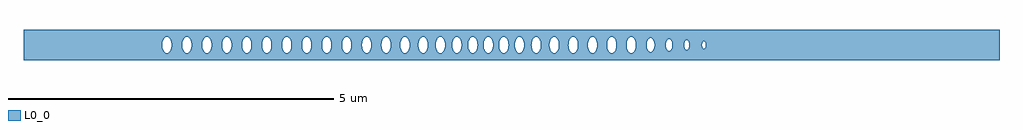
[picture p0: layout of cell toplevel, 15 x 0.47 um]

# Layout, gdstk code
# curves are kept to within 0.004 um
import gdstk
lib = gdstk.Library(unit=1e-6, precision=1e-09)
def P(c, l, *ps):  # polygons
    for p in ps: c.add(gdstk.Polygon(p, *l))
L0_0 = (0, 0)

toplevel = lib.new_cell('toplevel')
P(toplevel, L0_0, [(-4.754,0.016),(-4.741,0.075),(-4.713,0.115),(-4.713,0.234),(-7.5,0.234),(-7.5,-0.008),(-5.369,-0.008),(-5.364,0.047),(-5.346,0.093),(-5.323,0.119),(-5.296,0.128),(-5.261,0.112),(-5.24,0.081),(-5.227,0.039),(-5.224,0),(-5.062,0),(-5.057,0.047),(-5.039,0.093),(-5.016,0.119),(-4.989,0.128),(-4.963,0.119),(-4.943,0.098),(-4.928,0.068),(-4.917,0.016),(-4.92,-0.039),(-4.933,-0.081),(-4.954,-0.112),(-4.989,-0.128),(-5.016,-0.119),(-5.039,-0.093),(-5.057,-0.047),(-5.062,0),(-5.224,0),(-5.227,-0.039),(-5.24,-0.081),(-5.261,-0.112),(-5.296,-0.128),(-5.323,-0.119),(-5.346,-0.093),(-5.364,-0.047),(-5.369,-0.008),(-7.5,-0.008),(-7.5,-0.234),(-4.713,-0.234),(-4.713,-0.115),(-4.732,-0.093),(-4.746,-0.061)],
  [(2.369,-0.006),(2.37,0.234),(1.563,0.234),(1.563,0.121),(1.58,0.108),(1.6,0.075),(1.61,0.039),(1.613,-0.016),(1.768,-0.016),(1.771,0.039),(1.782,0.075),(1.805,0.112),(1.84,0.128),(1.867,0.119),(1.89,0.093),(1.908,0.047),(1.912,-0.014),(2.075,-0.014),(2.079,0.041),(2.089,0.071),(2.114,0.103),(2.137,0.111),(2.16,0.103),(2.18,0.081),(2.199,0.014),(2.19,-0.059),(2.174,-0.089),(2.149,-0.109),(2.125,-0.109),(2.1,-0.089),(2.084,-0.059),(2.075,-0.014),(1.912,-0.014),(1.908,-0.047),(1.89,-0.093),(1.867,-0.119),(1.84,-0.128),(1.814,-0.119),(1.794,-0.098),(1.779,-0.068),(1.768,-0.016),(1.613,-0.016),(1.6,-0.075),(1.58,-0.108),(1.563,-0.121),(1.563,-0.234),(2.37,-0.234)],
  [(-4.612,-0.032),(-4.626,-0.081),(-4.647,-0.112),(-4.682,-0.128),(-4.713,-0.115),(-4.713,-0.234),(-4.38,-0.234),(-4.38,-0.127),(-4.402,-0.119),(-4.425,-0.093),(-4.441,-0.054),(-4.448,0),(-4.441,0.054),(-4.425,0.093),(-4.402,0.119),(-4.38,0.127),(-4.38,0.234),(-4.713,0.234),(-4.713,0.115),(-4.682,0.128),(-4.656,0.119),(-4.636,0.098),(-4.613,0.039)],
  [(-4.371,0.127),(-4.34,0.112),(-4.319,0.081),(-4.306,0.039),(-4.303,-0.016),(-4.314,-0.068),(-4.329,-0.098),(-4.348,-0.119),(-4.38,-0.127),(-4.38,-0.234),(-4.041,-0.234),(-4.041,-0.119),(-4.068,-0.128),(-4.095,-0.119),(-4.107,-0.108),(-4.132,-0.061),(-4.141,0),(-4.132,0.061),(-4.107,0.108),(-4.095,0.119),(-4.068,0.128),(-4.041,0.119),(-4.041,0.234),(-4.38,0.234),(-4.38,0.127)],
  [(-4.041,0.234),(-4.041,0.119),(-4.012,0.081),(-3.996,0.016),(-3.998,-0.032),(-4.007,-0.068),(-4.022,-0.098),(-4.041,-0.119),(-4.041,-0.234),(-3.692,-0.234),(-3.692,-0.04),(-3.702,-0.075),(-3.722,-0.108),(-3.734,-0.119),(-3.761,-0.128),(-3.788,-0.119),(-3.811,-0.093),(-3.825,-0.061),(-3.833,-0.016),(-3.831,0.032),(-3.82,0.075),(-3.8,0.108),(-3.775,0.125),(-3.747,0.125),(-3.722,0.108),(-3.702,0.075),(-3.692,0.039),(-3.692,0.234)],
  [(-3.182,-0.234),(-3.182,-0.112),(-3.206,-0.075),(-3.219,-0.016),(-3.217,0.032),(-3.206,0.075),(-3.182,0.112),(-3.182,0.234),(-3.692,0.234),(-3.689,-0.016),(-3.526,-0.016),(-3.524,0.032),(-3.513,0.075),(-3.489,0.112),(-3.454,0.128),(-3.427,0.119),(-3.404,0.093),(-3.382,0.016),(-3.384,-0.032),(-3.395,-0.075),(-3.419,-0.112),(-3.454,-0.128),(-3.481,-0.119),(-3.504,-0.093),(-3.52,-0.054),(-3.526,-0.016),(-3.689,-0.016),(-3.692,-0.234)],
  [(-3.078,-0.039),(-3.097,-0.093),(-3.12,-0.119),(-3.147,-0.128),(-3.182,-0.112),(-3.182,-0.234),(-2.818,-0.234),(-2.818,-0.121),(-2.84,-0.128),(-2.867,-0.119),(-2.879,-0.108),(-2.899,-0.075),(-2.912,-0.016),(-2.909,0.039),(-2.886,0.098),(-2.867,0.119),(-2.853,0.125),(-2.84,0.128),(-2.818,0.121),(-2.818,0.234),(-3.182,0.234),(-3.182,0.112),(-3.161,0.125),(-3.133,0.125),(-3.112,0.112),(-3.097,0.093),(-3.078,0.039)],
  [(-2.472,-0.068),(-2.483,-0.093),(-2.506,-0.119),(-2.533,-0.128),(-2.546,-0.125),(-2.568,-0.112),(-2.586,-0.087),(-2.605,-0.016),(-2.603,0.032),(-2.594,0.068),(-2.579,0.098),(-2.56,0.119),(-2.533,0.128),(-2.506,0.119),(-2.483,0.093),(-2.472,0.068),(-2.472,0.234),(-2.818,0.234),(-2.818,0.121),(-2.801,0.108),(-2.781,0.075),(-2.768,0.016),(-2.77,-0.032),(-2.781,-0.075),(-2.801,-0.108),(-2.818,-0.121),(-2.818,-0.234),(-2.472,-0.234)],
  [(-2,-0.008),(-1.997,0.234),(-2.472,0.234),(-2.472,0.067),(-2.461,-0.008),(-2.3,-0.008),(-2.295,0.047),(-2.277,0.093),(-2.254,0.119),(-2.227,0.128),(-2.201,0.119),(-2.181,0.098),(-2.166,0.068),(-2.155,0.008),(-2.158,-0.039),(-2.178,-0.093),(-2.201,-0.119),(-2.227,-0.128),(-2.254,-0.119),(-2.277,-0.093),(-2.295,-0.047),(-2.3,-0.008),(-2.461,-0.008),(-2.472,-0.068),(-2.472,-0.234),(-1.997,-0.234)],
  [(-1.995,0.047),(-1.977,0.093),(-1.962,0.112),(-1.932,0.127),(-1.909,0.123),(-1.888,0.108),(-1.871,0.081),(-1.858,0.039),(-1.855,-0.016),(-1.866,-0.068),(-1.881,-0.098),(-1.901,-0.119),(-1.927,-0.128),(-1.954,-0.119),(-1.97,-0.103),(-1.986,-0.075),(-1.997,-0.035),(-1.997,-0.234),(-1.672,-0.234),(-1.672,-0.112),(-1.698,-0.068),(-1.709,-0.016),(-1.707,0.032),(-1.698,0.068),(-1.672,0.112),(-1.672,0.234),(-1.997,0.234)],
  [(-1.567,-0.032),(-1.578,-0.075),(-1.61,-0.119),(-1.637,-0.128),(-1.672,-0.112),(-1.672,-0.234),(-1.363,-0.234),(-1.363,-0.127),(-1.385,-0.119),(-1.408,-0.093),(-1.424,-0.054),(-1.431,0),(-1.424,0.054),(-1.408,0.093),(-1.385,0.119),(-1.363,0.127),(-1.363,0.234),(-1.672,0.234),(-1.672,0.112),(-1.637,0.128),(-1.61,0.119),(-1.594,0.103),(-1.569,0.047),(-1.564,0.008)],
  [(-1.354,0.127),(-1.323,0.112),(-1.302,0.081),(-1.289,0.039),(-1.286,-0.016),(-1.297,-0.068),(-1.312,-0.098),(-1.332,-0.119),(-1.363,-0.127),(-1.363,-0.234),(-1.046,-0.234),(-1.046,-0.098),(-1.079,-0.125),(-1.092,-0.128),(-1.119,-0.119),(-1.139,-0.098),(-1.154,-0.068),(-1.165,-0.008),(-1.154,0.068),(-1.127,0.112),(-1.092,0.128),(-1.066,0.119),(-1.046,0.098),(-1.046,0.234),(-1.363,0.234),(-1.363,0.127)],
  [(-1.046,0.234),(-1.046,0.098),(-1.031,0.068),(-1.02,0.008),(-1.025,-0.047),(-1.046,-0.098),(-1.046,-0.234),(-0.766,-0.234),(-0.766,-0.008),(-0.771,-0.047),(-0.789,-0.093),(-0.812,-0.119),(-0.839,-0.128),(-0.865,-0.119),(-0.885,-0.098),(-0.9,-0.068),(-0.911,-0.016),(-0.908,0.039),(-0.895,0.081),(-0.874,0.112),(-0.839,0.128),(-0.812,0.119),(-0.789,0.093),(-0.771,0.047),(-0.766,0.008),(-0.766,0.234)],
  [(-0.398,-0.103),(-0.417,-0.068),(-0.428,-0.016),(-0.423,0.047),(-0.398,0.103),(-0.398,0.234),(-0.766,0.234),(-0.766,-0.008),(-0.667,-0.008),(-0.662,0.047),(-0.644,0.093),(-0.621,0.119),(-0.595,0.128),(-0.568,0.119),(-0.548,0.098),(-0.533,0.068),(-0.522,0.008),(-0.527,-0.047),(-0.545,-0.093),(-0.568,-0.119),(-0.595,-0.128),(-0.621,-0.119),(-0.641,-0.098),(-0.656,-0.068),(-0.667,-0.008),(-0.766,-0.008),(-0.766,-0.234),(-0.398,-0.234)],
  [(-0.286,-0.032),(-0.297,-0.075),(-0.329,-0.119),(-0.365,-0.126),(-0.398,-0.103),(-0.398,-0.234),(-0.123,-0.234),(-0.123,-0.127),(-0.145,-0.119),(-0.168,-0.093),(-0.186,-0.047),(-0.191,-0.008),(-0.186,0.047),(-0.168,0.093),(-0.145,0.119),(-0.123,0.127),(-0.123,0.234),(-0.398,0.234),(-0.398,0.103),(-0.382,0.119),(-0.356,0.128),(-0.329,0.119),(-0.317,0.108),(-0.29,0.054),(-0.283,0)],
  [(-0.114,0.127),(-0.092,0.119),(-0.069,0.093),(-0.051,0.047),(-0.046,-0.008),(-0.057,-0.068),(-0.072,-0.098),(-0.092,-0.119),(-0.123,-0.127),(-0.123,-0.234),(0.158,-0.234),(0.158,-0.112),(0.123,-0.128),(0.088,-0.112),(0.067,-0.081),(0.051,-0.016),(0.056,0.047),(0.067,0.081),(0.084,0.108),(0.123,0.128),(0.158,0.112),(0.158,0.234),(-0.123,0.234),(-0.123,0.127)],
  [(0.195,-0.016),(0.182,-0.075),(0.158,-0.112),(0.158,-0.234),(0.436,-0.234),(0.436,-0.081),(0.419,-0.108),(0.398,-0.123),(0.38,-0.128),(0.353,-0.119),(0.321,-0.075),(0.307,0),(0.321,0.075),(0.353,0.119),(0.38,0.128),(0.398,0.123),(0.419,0.108),(0.436,0.081),(0.436,0.234),(0.158,0.234),(0.158,0.112),(0.187,0.061)],
  [(0.45,-0.032),(0.436,-0.081),(0.436,-0.234),(0.877,-0.234),(0.877,0.234),(0.436,0.234),(0.436,0.081),(0.449,0.039),(0.452,-0.008),(0.584,-0.008),(0.589,0.047),(0.607,0.093),(0.63,0.119),(0.657,0.128),(0.683,0.119),(0.703,0.098),(0.718,0.068),(0.729,0.016),(0.726,-0.039),(0.713,-0.081),(0.692,-0.112),(0.657,-0.128),(0.63,-0.119),(0.607,-0.093),(0.589,-0.047),(0.584,-0.008),(0.452,-0.008)],
  [(1.02,-0.024),(1.01,-0.068),(0.995,-0.098),(0.975,-0.119),(0.948,-0.128),(0.922,-0.119),(0.902,-0.098),(0.887,-0.068),(0.877,-0.026),(0.877,-0.234),(1.21,-0.234),(1.21,-0.112),(1.186,-0.075),(1.172,-0.008),(1.181,0.061),(1.21,0.112),(1.21,0.234),(0.877,0.234),(0.877,0.024),(0.887,0.068),(0.91,0.108),(0.935,0.125),(0.962,0.125),(0.987,0.108),(1.01,0.068),(1.02,0.024)],
  [(1.218,0.119),(1.245,0.128),(1.284,0.108),(1.301,0.081),(1.312,0.047),(1.317,-0.016),(1.301,-0.081),(1.28,-0.112),(1.245,-0.128),(1.21,-0.112),(1.21,-0.234),(1.563,-0.234),(1.563,-0.121),(1.536,-0.127),(1.502,-0.108),(1.482,-0.075),(1.469,-0.016),(1.472,0.039),(1.491,0.093),(1.506,0.112),(1.527,0.125),(1.541,0.128),(1.563,0.121),(1.563,0.234),(1.21,0.234),(1.21,0.112)],
  [(2.472,-0.018),(2.457,-0.068),(2.443,-0.085),(2.425,-0.094),(2.408,-0.091),(2.393,-0.079),(2.377,-0.05),(2.37,-0.019),(2.37,-0.234),(2.699,-0.234),(2.699,-0.076),(2.675,-0.07),(2.663,-0.053),(2.651,0),(2.663,0.053),(2.675,0.07),(2.699,0.076),(2.699,0.234),(2.37,0.234),(2.37,0.018),(2.377,0.05),(2.393,0.079),(2.418,0.094),(2.434,0.091),(2.452,0.076),(2.467,0.045)],
  [(2.733,-0.024),(2.724,-0.053),(2.699,-0.076),(2.699,-0.234),(7.5,-0.234),(7.5,0.234),(2.699,0.234),(2.699,0.076),(2.711,0.07),(2.726,0.049),(2.734,-0.011),(2.926,-0.011),(2.934,0.041),(2.953,0.06),(2.976,0.049),(2.989,0.008),(2.982,-0.038),(2.961,-0.06),(2.94,-0.051),(2.926,-0.011),(2.734,-0.011)])

lib.write_gds('toplevel.gds')
